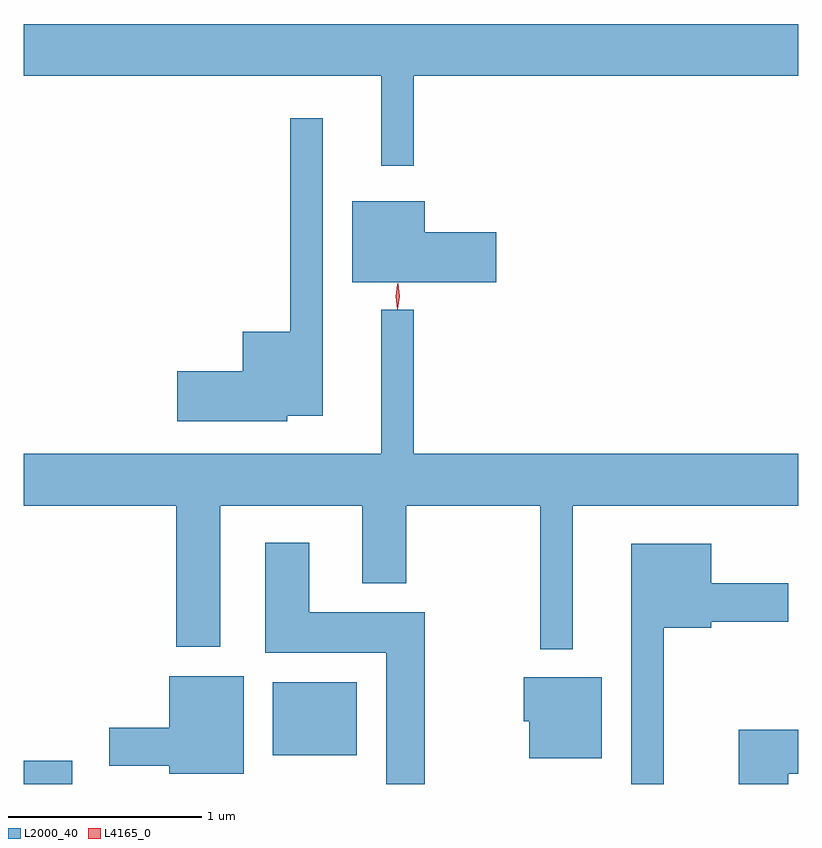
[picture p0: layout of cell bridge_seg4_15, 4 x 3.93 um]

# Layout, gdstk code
import gdstk
lib = gdstk.Library(unit=1e-6, precision=1e-09)
def R(c, l, rs):  # rectangles x0, y0, x1, y1
    for r in rs: c.add(gdstk.rectangle(r[:2], r[2:], *l))
def P(c, l, *ps):  # polygons
    for p in ps: c.add(gdstk.Polygon(p, *l))
L2000_40 = (2000, 40)
L4165_0 = (4165, 0)

bridge_seg4_15 = lib.new_cell('bridge_seg4_15')
R(bridge_seg4_15, L2000_40, [(1168.394,1331.038,1168.644,1331.159), (1169.681,1331.186,1170.114,1331.564)])
P(bridge_seg4_15, L2000_40, [(1170.409,1334.696),(1172.394,1334.696),(1172.394,1334.964),(1168.394,1334.964),(1168.394,1334.696),(1170.241,1334.696),(1170.241,1334.233),(1170.409,1334.233)],
  [(1169.754,1332.941),(1169.939,1332.941),(1169.939,1334.478),(1169.771,1334.478),(1169.771,1333.374),(1169.526,1333.374),(1169.526,1333.169),(1169.186,1333.169),(1169.186,1332.911),(1169.754,1332.911)],
  [(1170.834,1333.889),(1170.464,1333.889),(1170.464,1334.049),(1170.091,1334.049),(1170.091,1333.631),(1170.834,1333.631)],
  [(1171.229,1332.476),(1172.394,1332.476),(1172.394,1332.744),(1170.409,1332.744),(1170.409,1333.488),(1170.241,1333.488),(1170.241,1332.744),(1168.394,1332.744),(1168.394,1332.476),(1169.181,1332.476),(1169.181,1331.746),(1169.409,1331.746),(1169.409,1332.476),(1170.141,1332.476),(1170.141,1332.076),(1170.369,1332.076),(1170.369,1332.476),(1171.061,1332.476),(1171.061,1331.733),(1171.229,1331.733)],
  [(1170.464,1331.924),(1169.869,1331.924),(1169.869,1332.284),(1169.641,1332.284),(1169.641,1331.716),(1170.266,1331.716),(1170.266,1331.038),(1170.464,1331.038)],
  [(1171.699,1331.846),(1171.944,1331.846),(1171.944,1331.876),(1172.344,1331.876),(1172.344,1332.074),(1171.944,1332.074),(1171.944,1332.279),(1171.531,1332.279),(1171.531,1331.038),(1171.699,1331.038)],
  [(1169.529,1331.594),(1169.146,1331.594),(1169.146,1331.329),(1168.836,1331.329),(1168.836,1331.131),(1169.146,1331.131),(1169.146,1331.091),(1169.529,1331.091)],
  [(1171.379,1331.589),(1170.976,1331.589),(1170.976,1331.361),(1171.006,1331.361),(1171.006,1331.171),(1171.379,1331.171)],
  [(1172.344,1331.091),(1172.394,1331.091),(1172.394,1331.319),(1172.086,1331.319),(1172.086,1331.038),(1172.344,1331.038)])
P(bridge_seg4_15, L4165_0, [(1170.324,1333.49),(1170.316,1333.558),(1170.326,1333.626),(1170.327,1333.626),(1170.327,1333.626),(1170.336,1333.558),(1170.325,1333.49),(1170.325,1333.49)],
  [(1170.324,1333.493),(1170.323,1333.494),(1170.314,1333.556),(1170.323,1333.619),(1170.324,1333.62),(1170.324,1333.619),(1170.334,1333.556),(1170.324,1333.494)])

lib.write_gds('bridge_seg4_15.gds')
